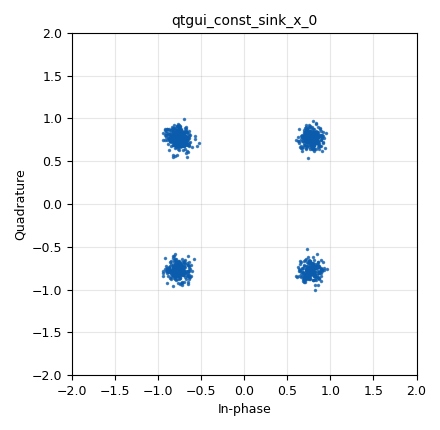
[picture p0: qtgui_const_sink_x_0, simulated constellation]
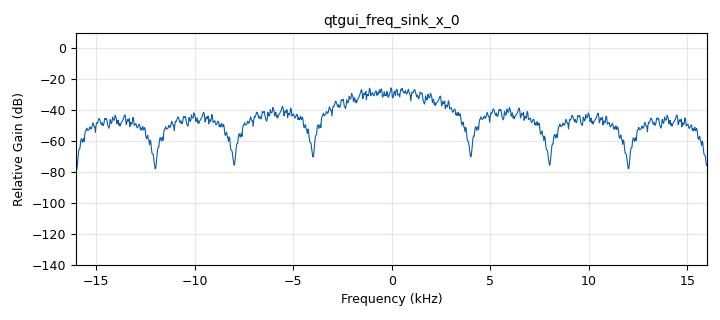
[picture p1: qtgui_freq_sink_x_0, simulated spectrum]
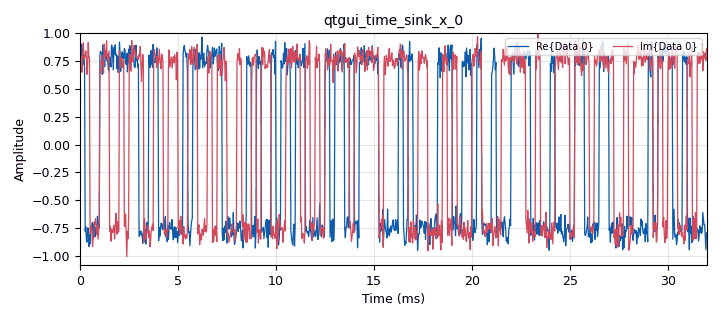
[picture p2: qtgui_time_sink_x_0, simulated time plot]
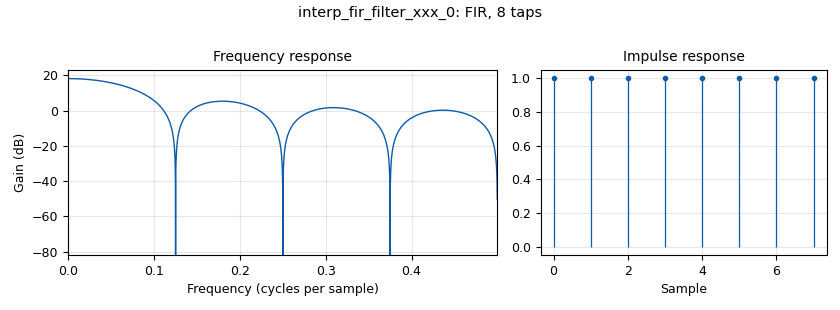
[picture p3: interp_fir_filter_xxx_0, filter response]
options:
  parameters:
    generate_options: qt_gui
    id: QPSK
    output_language: python
    title: Not titled yet
  states: {}

blocks:
- name: M
  id: variable
  parameters:
    value: len(Truth_Table_Constelation)
  states: {}
- name: Rb
  id: variable
  parameters:
    value: Rs*bps
  states: {}
- name: Rs
  id: variable
  parameters:
    value: '32000'
  states: {}
- name: Truth_Table_Constelation
  id: variable
  parameters:
    value: (0.77+0.77j,-0.77+0.77j,-0.77-0.77j,0.77-0.77j)
  states: {}
- name: Truth_Table_Constelation
  id: variable
  parameters:
    value: (1,1j,-1,-1j)
  states: {state: disabled}
- name: bps
  id: variable
  parameters:
    value: int(math.log(M,2))
  states: {}
- name: h
  id: variable
  parameters:
    value: '[1]*sps'
  states: {}
- name: samp_rate
  id: variable
  parameters:
    value: '32000'
  states: {}
- name: sps
  id: variable
  parameters:
    value: '8'
  states: {}
- name: analog_noise_source_x_0
  id: analog_noise_source_x
  parameters:
    amp: '0.1'
    noise_type: analog.GR_GAUSSIAN
    seed: '0'
    type: complex
  states: {}
- name: analog_random_source_x_0
  id: analog_random_source_x
  parameters:
    max: '2'
    min: '0'
    num_samps: '1000'
    repeat: 'True'
    type: byte
  states: {}
- name: blocks_add_xx_0
  id: blocks_add_xx
  parameters:
    type: complex
  states: {}
- name: blocks_pack_k_bits_bb_0
  id: blocks_pack_k_bits_bb
  parameters:
    k: '8'
  states: {}
- name: blocks_packed_to_unpacked_xx_0
  id: blocks_packed_to_unpacked_xx
  parameters:
    bits_per_chunk: bps
    endianness: gr.GR_MSB_FIRST
    type: byte
  states: {}
- name: blocks_vector_source_x_0
  id: blocks_vector_source_x
  parameters:
    repeat: 'True'
    type: byte
    vector: (0, 1, 2,3)
  states: {state: disabled}
- name: digital_chunks_to_symbols_xx_0
  id: digital_chunks_to_symbols_xx
  parameters:
    dimension: '1'
    in_type: byte
    out_type: complex
    symbol_table: Truth_Table_Constelation
  states: {}
- name: epy_block_0_0
  id: epy_block
  parameters:
    _source_code: |
      import numpy as np
      from gnuradio import gr
      import math

      class blk(gr.sync_block):  
          """This block is a CE VCO or baseband VCO and works as following: ….."""

          def __init__(self,):  
              gr.sync_block.__init__(
                  self,
                  name='e_CE_VCO_fc',   
                  in_sig=[np.float32, np.float32],
                  out_sig=[np.complex64]
              )
              
          def work(self, input_items, output_items):
              A=input_items[0]
              Q=input_items[1]
              y=output_items[0]
              N=len(A)
              y[:]=A*np.exp(1j*Q)
              return len(output_items[0])
  states: {}
- name: import_0
  id: import
  parameters:
    imports: import math
  states: {}
- name: interp_fir_filter_xxx_0
  id: interp_fir_filter_xxx
  parameters:
    interp: sps
    taps: h
    type: ccc
  states: {}
- name: qtgui_const_sink_x_0
  id: qtgui_const_sink_x
  parameters:
    size: '1024'
    type: complex
  states: {}
- name: qtgui_freq_sink_x_0
  id: qtgui_freq_sink_x
  parameters:
    average: '0.05'
    bw: samp_rate
    fc: '0'
    fftsize: '1024'
    type: complex
  states: {}
- name: qtgui_time_sink_x_0
  id: qtgui_time_sink_x
  parameters:
    size: '1024'
    srate: samp_rate
    type: complex
  states: {}
- name: virtual_sink_0
  id: virtual_sink
  parameters:
    stream_id: p1
  states: {}
- name: virtual_sink_0_0
  id: virtual_sink
  parameters:
    stream_id: p0
  states: {}
- name: virtual_source_0
  id: virtual_source
  parameters:
    stream_id: p1
  states: {}
- name: virtual_source_0_0
  id: virtual_source
  parameters:
    stream_id: p0
  states: {}

connections:
- [analog_noise_source_x_0, '0', blocks_add_xx_0, '1']
- [analog_random_source_x_0, '0', blocks_pack_k_bits_bb_0, '0']
- [blocks_add_xx_0, '0', virtual_sink_0, '0']
- [blocks_pack_k_bits_bb_0, '0', blocks_packed_to_unpacked_xx_0, '0']
- [blocks_packed_to_unpacked_xx_0, '0', digital_chunks_to_symbols_xx_0, '0']
- [blocks_vector_source_x_0, '0', digital_chunks_to_symbols_xx_0, '0']
- [digital_chunks_to_symbols_xx_0, '0', interp_fir_filter_xxx_0, '0']
- [interp_fir_filter_xxx_0, '0', blocks_add_xx_0, '0']
- [interp_fir_filter_xxx_0, '0', virtual_sink_0_0, '0']
- [virtual_source_0, '0', qtgui_const_sink_x_0, '0']
- [virtual_source_0, '0', qtgui_time_sink_x_0, '0']
- [virtual_source_0_0, '0', qtgui_freq_sink_x_0, '0']

metadata:
  file_format: 1
  grc_version: v3.10.11.0-89-ga17f69e7
